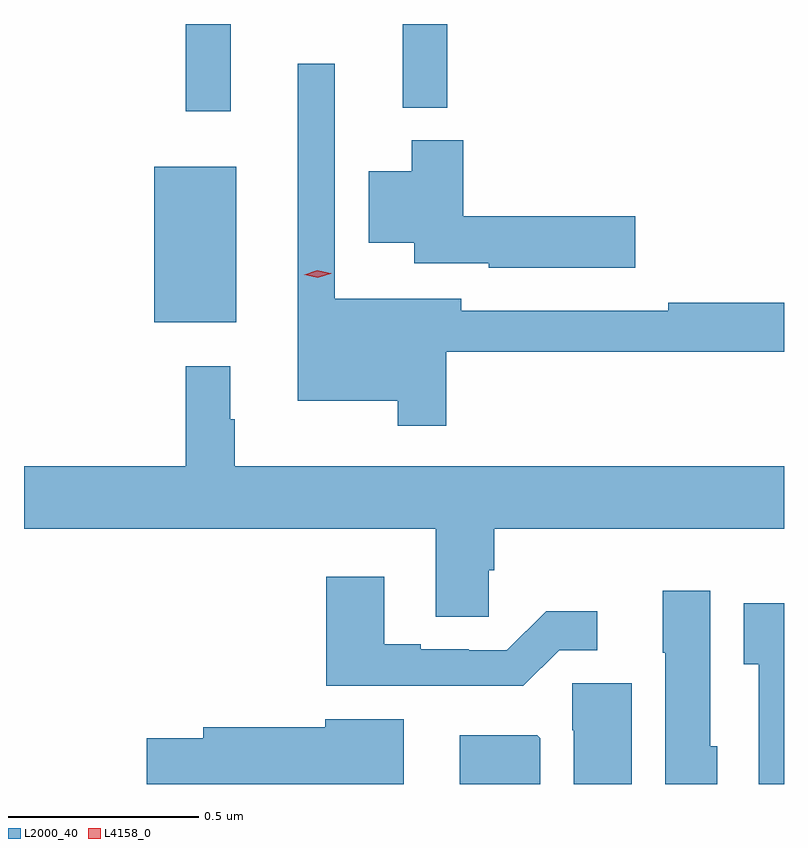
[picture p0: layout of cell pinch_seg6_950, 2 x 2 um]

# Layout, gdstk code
import gdstk
lib = gdstk.Library(unit=1e-6, precision=1e-09)
def R(c, l, rs):  # rectangles x0, y0, x1, y1
    for r in rs: c.add(gdstk.rectangle(r[:2], r[2:], *l))
def P(c, l, *ps):  # polygons
    for p in ps: c.add(gdstk.Polygon(p, *l))
L2000_40 = (2000, 40)
L4158_0 = (4158, 0)

pinch_seg6_950 = lib.new_cell('pinch_seg6_950')
R(pinch_seg6_950, L2000_40, [(160.694,951.875,160.909,952.285), (160.777,952.431,160.895,952.66), (161.348,952.439,161.465,952.66)])
P(pinch_seg6_950, L2000_40, [(161.462,951.798),(162.351,951.798),(162.351,951.926),(162.046,951.926),(162.046,951.906),(161.502,951.906),(161.502,951.937),(161.169,951.937),(161.169,952.555),(161.072,952.555),(161.072,951.668),(161.334,951.668),(161.334,951.603),(161.462,951.603)],
  [(161.959,952.154),(161.507,952.154),(161.507,952.354),(161.372,952.354),(161.372,952.273),(161.258,952.273),(161.258,952.085),(161.378,952.085),(161.378,952.031),(161.574,952.031),(161.574,952.019),(161.959,952.019)],
  [(161.574,951.222),(161.588,951.222),(161.588,951.332),(162.351,951.332),(162.351,951.496),(160.906,951.496),(160.906,951.62),(160.894,951.62),(160.894,951.76),(160.777,951.76),(160.777,951.496),(160.351,951.496),(160.351,951.332),(161.435,951.332),(161.435,951.1),(161.574,951.1)],
  [(161.76,951.012),(161.86,951.012),(161.86,951.115),(161.725,951.115),(161.622,951.012),(161.522,951.012),(161.522,951.015),(161.395,951.015),(161.395,951.028),(161.299,951.028),(161.299,951.205),(161.147,951.205),(161.147,950.918),(161.665,950.918)],
  [(162.175,950.76),(162.157,950.76),(162.157,951.169),(162.032,951.169),(162.032,951.006),(162.038,951.006),(162.038,950.66),(162.175,950.66)],
  [(162.351,951.136),(162.245,951.136),(162.245,950.975),(162.285,950.975),(162.285,950.66),(162.351,950.66)],
  [(161.95,950.925),(161.794,950.925),(161.794,950.802),(161.798,950.802),(161.798,950.66),(161.95,950.66)],
  [(161.35,950.83),(161.144,950.83),(161.144,950.81),(160.823,950.81),(160.823,950.78),(160.674,950.78),(160.674,950.66),(161.35,950.66)],
  [(161.71,950.78),(161.702,950.788),(161.498,950.788),(161.498,950.66),(161.71,950.66)])
P(pinch_seg6_950, L4158_0, [(161.124,951.992),(161.088,952),(161.088,952),(161.088,952),(161.123,952.012),(161.158,952.004),(161.159,952.004),(161.158,952.003)])

lib.write_gds('pinch_seg6_950.gds')
